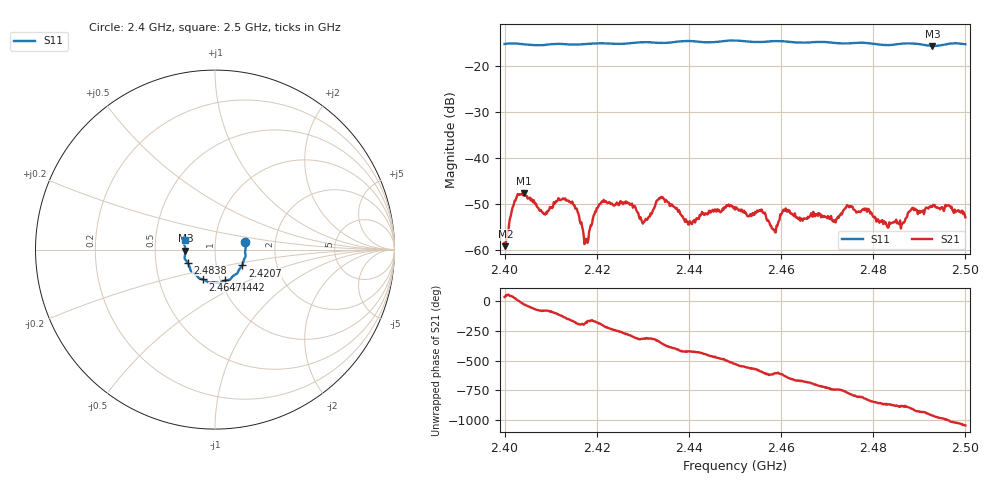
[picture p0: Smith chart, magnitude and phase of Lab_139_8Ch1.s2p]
# Hz S RI R 50
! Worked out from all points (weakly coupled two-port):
!   601 points, 2.4 GHz to 2.5 GHz, reference 50 ohm
!   highest |S21| = -47.70 dB at 2.4042 GHz (marker M1); lowest = -59.2 dB at 2.4002 GHz (marker M2)
!   lowest |S11| = -15.6 dB at 2.4928 GHz (marker M3), VSWR 1.40, Z = 35.8 - j0.436 ohm
!   |S11| at or under -10 dB: start of sweep to end of sweep
!   S12 and S22 are empty: the file has one direction only
!   S11 on the Smith chart (normalised r, x): 2.4 GHz: 1.40, +0.12; 2.4207 GHz: 1.33, -0.24; 2.4442 GHz: 1.05, -0.37; 2.4647 GHz: 0.83, -0.29; 2.4838 GHz: 0.73, -0.11; 2.5 GHz: 0.71, +0.07
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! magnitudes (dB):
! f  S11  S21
! 2.4 GHz  -15.2  -58.5
! 2.4002 GHz  -15.2  -59.2
! 2.4023 GHz  -15.1  -49.3
! 2.4042 GHz  -15.3  -47.7
! 2.4087 GHz  -15.4  -52.3
! 2.4142 GHz  -15.3  -49.5
! 2.4167 GHz  -15.3  -54.0
! 2.4178 GHz  -15.2  -57.6
! 2.4207 GHz  -15.1  -50.0
! 2.4303 GHz  -14.8  -53.9
! 2.4333 GHz  -15.0  -49.1
! 2.4402 GHz  -14.6  -53.7
! 2.4442 GHz  -14.9  -52.2
! 2.45 GHz  -14.5  -51.2
! 2.4583 GHz  -14.6  -55.6
! 2.4607 GHz  -14.6  -51.4
! 2.4647 GHz  -14.9  -53.7
! 2.4667 GHz  -14.8  -52.3
! 2.4833 GHz  -15.5  -55.1
! 2.4838 GHz  -15.4  -54.2
! 2.4928 GHz  -15.6  -50.6
! 2.5 GHz  -15.3  -52.9
